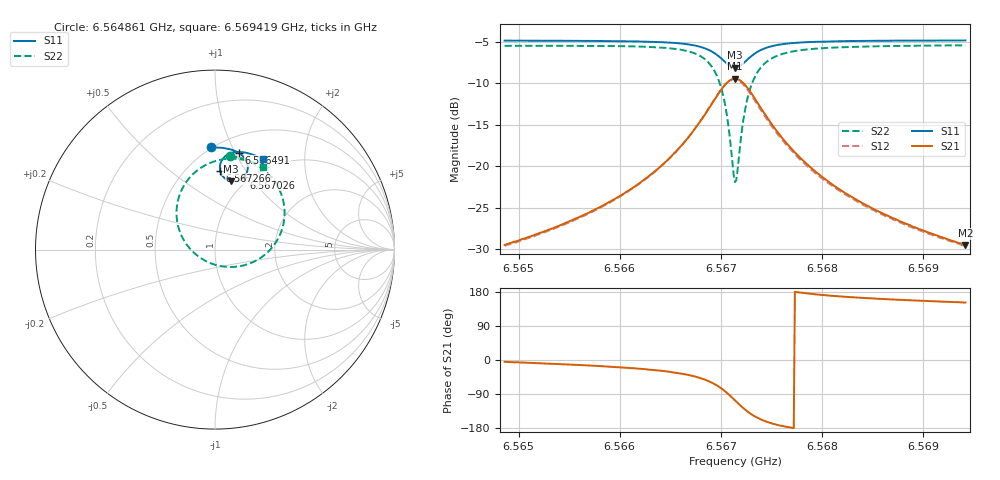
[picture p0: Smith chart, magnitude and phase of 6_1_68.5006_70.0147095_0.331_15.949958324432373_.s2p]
#  HZ  S  RI  R  50.00
! Rohde & Schwarz Vector Network Analyzer
! Rohde-Schwarz,ZNB20-2Port,1311601062101988,3.16
! Created: UTC 3/20/2024, 4:48:49 PM
! freq[Hz]  re:S11  im:S11  re:S21  im:S21  re:S12  im:S12  re:S22  im:S22
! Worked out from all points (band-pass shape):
!   401 points, 6.564861 GHz to 6.569419 GHz, reference 50 ohm
!   highest |S21| = -9.48 dB at 6.56714 GHz (marker M1); lowest = -29.5 dB at 6.569419 GHz (marker M2)
!   |S21| within 3 dB of the highest: 6.566912 GHz to 6.567368 GHz (456 kHz wide, 0.00694 % of centre)
!   lowest |S11| = -8.2 dB at 6.56714 GHz (marker M3), VSWR 2.28, Z = 43.3 + j38.9 ohm
!   |S11| at or under -10 dB: nowhere
!   |S22| runs from -21.9 to -5.4 dB; largest |S21 - S12| = 0.018
!   S11 on the Smith chart (normalised r, x): 6.564861 GHz: 0.49, +0.83; 6.566491 GHz: 0.67, +1.04; 6.567026 GHz: 0.94, +0.93; 6.567266 GHz: 0.71, +0.77; 6.569419 GHz: 0.86, +1.28
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6.564861e9  -0.0221 0.5691  0.0334 -0.00283  0.0328 -0.00338  0.0836 0.5235
6.5656246e9  0.0431 0.5664  0.0487 -0.0118  0.0479 -0.0124  0.1642 0.504
6.5660462e9  0.0833 0.559  0.0644 -0.0234  0.0635 -0.0243  0.222 0.4781
6.5663881e9  0.1211 0.5454  0.0863 -0.0454  0.0852 -0.0466  0.2855 0.4329
6.5664906e9  0.1339 0.5381  0.0954 -0.0575  0.0941 -0.0588  0.309 0.4092
6.5666957e9  0.1619 0.514  0.1168 -0.0996  0.115 -0.1017  0.3621 0.3268
6.5668553e9  0.1807 0.4753  0.1258 -0.168  0.1225 -0.1721  0.3875 0.1945
6.5669578e9  0.1788 0.4339  0.104 -0.2407  0.0969 -0.246  0.3485 0.0558
6.5670262e9  0.1598 0.4022  0.0561 -0.2951  0.0444 -0.2991  0.2571 -0.0442
6.5670832e9  0.1282 0.3826  -0.0124 -0.3256  -0.028 -0.325  0.1281 -0.0943
6.5671174e9  0.1038 0.379  -0.0624 -0.3282  -0.0786 -0.3237  0.0371 -0.093
6.5671402e9  0.0871 0.381  -0.096 -0.3218  -0.1119 -0.3142  -0.0227 -0.0767
6.567163e9  0.0712 0.3865  -0.1279 -0.3088  -0.1423 -0.2984  -0.0775 -0.0485
6.5672199e9  0.0409 0.4126  -0.1887 -0.255  -0.1974 -0.2405  -0.176 0.0563
6.5672655e9  0.0293 0.4387  -0.213 -0.2034  -0.217 -0.1884  -0.21 0.1508
6.5673567e9  0.0321 0.4845  -0.215 -0.1152  -0.2127 -0.1038  -0.1973 0.3044
6.5674934e9  0.0596 0.5221  -0.1772 -0.0427  -0.1733 -0.0363  -0.1167 0.426
6.567653e9  0.0919 0.5388  -0.1364 -0.0081  -0.1329 -0.00493  -0.0325 0.4808
6.5679037e9  0.131 0.5442  -0.0958 0.00974  -0.0932 0.0113  0.0564 0.5046
6.5682227e9  0.1682 0.5403  -0.0673 0.0156  -0.0658 0.0164  0.1271 0.5049
6.5686672e9  0.2099 0.5291  -0.0467 0.0168  -0.0456 0.0171  0.1919 0.4922
6.5694193e9  0.2692 0.5037  -0.0294 0.0158  -0.0287 0.016  0.2678 0.4623
